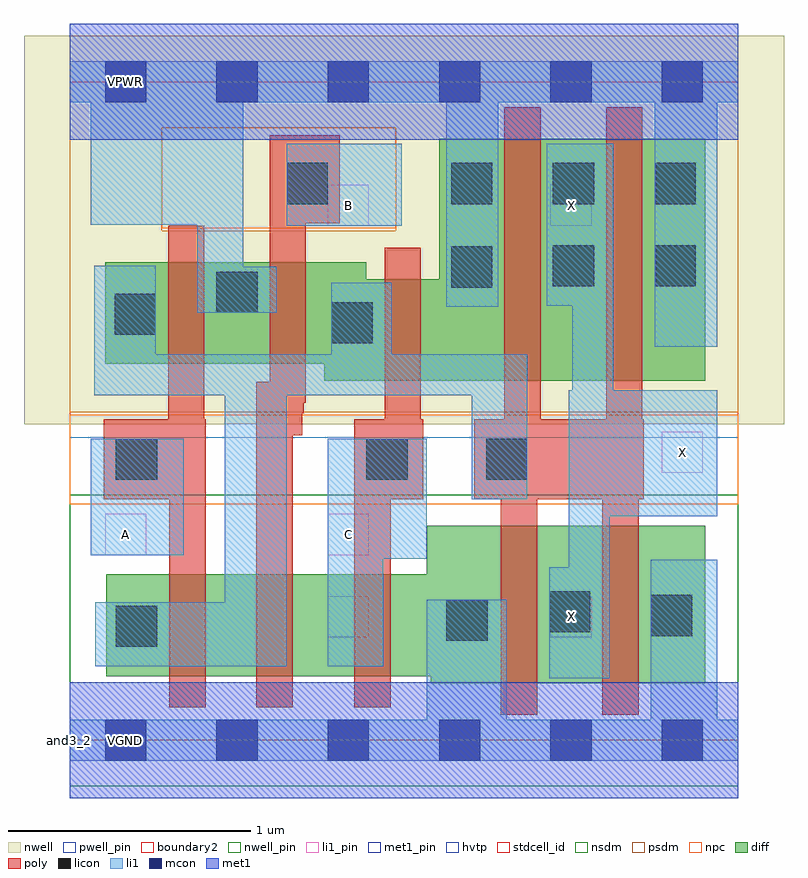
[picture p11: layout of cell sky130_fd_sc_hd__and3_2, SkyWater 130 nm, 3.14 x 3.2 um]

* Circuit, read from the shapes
.subckt sky130_fd_sc_hd__and3_2 A B C VGND VNB VPB VPWR X
XM1 n1 A n2 VNB sky130_fd_pr__nfet_01v8 w=0.42 l=0.15
XM2 n3 B n1 VNB sky130_fd_pr__nfet_01v8 w=0.42 l=0.15
XM3 VGND C n3 VNB sky130_fd_pr__nfet_01v8 w=0.42 l=0.15
XM4 X n2 VGND VNB sky130_fd_pr__nfet_01v8 w=0.65 l=0.15 m=2
XM5 VPWR A n2 VPB sky130_fd_pr__pfet_01v8_hvt w=0.42 l=0.15
XM6 n2 B VPWR VPB sky130_fd_pr__pfet_01v8_hvt w=0.42 l=0.15
XM7 VPWR C n2 VPB sky130_fd_pr__pfet_01v8_hvt w=0.42 l=0.15
XM8 X n2 VPWR VPB sky130_fd_pr__pfet_01v8_hvt w=1 l=0.15 m=2
.ends

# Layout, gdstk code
import gdstk
lib = gdstk.Library(unit=1e-6, precision=1e-09)
def R(c, l, rs):  # rectangles x0, y0, x1, y1
    for r in rs: c.add(gdstk.rectangle(r[:2], r[2:], *l))
def A(c, l, x, y, w, h, nx, ny, dx, dy):  # array of equal rectangles
    R(c, l, [(x+i*dx, y+j*dy, x+i*dx+w, y+j*dy+h) for i in range(nx) for j in range(ny)])
def P(c, l, *ps):  # polygons
    for p in ps: c.add(gdstk.Polygon(p, *l))
nwell_pin = (64, 16)
nwell = (64, 20)
diff = (65, 20)
poly = (66, 20)
licon = (66, 44)
li1_pin = (67, 16)
li1 = (67, 20)
mcon = (67, 44)
met1_pin = (68, 16)
met1 = (68, 20)
hvtp = (78, 44)
stdcell_id = (81, 4)
nsdm = (93, 44)
psdm = (94, 20)
npc = (95, 20)
pwell_pin = (122, 16)
boundary2 = (236, 0)

sky130_fd_sc_hd__and3_2 = lib.new_cell('sky130_fd_sc_hd__and3_2')
R(sky130_fd_sc_hd__and3_2, nwell_pin, [(0.145,2.635,0.315,2.805)])
R(sky130_fd_sc_hd__and3_2, nwell, [(-0.19,1.305,2.95,2.91)])
P(sky130_fd_sc_hd__and3_2, diff, [(2.625,2.485),(1.525,2.485),(1.525,1.905),(1.225,1.905),(1.225,1.975),(0.145,1.975),(0.145,1.555),(1.05,1.555),(1.05,1.485),(2.625,1.485)],
  [(2.625,0.885),(1.475,0.885),(1.475,0.685),(0.15,0.685),(0.15,0.265),(1.49,0.265),(1.49,0.235),(2.625,0.235)])
P(sky130_fd_sc_hd__and3_2, poly, [(0.56,1.325),(0.555,1.325),(0.555,2.125),(0.405,2.125),(0.405,1.325),(0.14,1.325),(0.14,0.995),(0.41,0.995),(0.41,0.135),(0.56,0.135)],
  [(1.115,2.5),(0.825,2.5),(0.825,1.48),(0.77,1.48),(0.77,0.135),(0.92,0.135),(0.92,1.26),(0.96,1.26),(0.96,1.35),(0.965,1.35),(0.965,1.395),(0.975,1.395),(0.975,2.135),(1.115,2.135)],
  [(1.46,1.325),(1.45,1.325),(1.45,2.035),(1.3,2.035),(1.3,1.325),(1.175,1.325),(1.175,0.135),(1.325,0.135),(1.325,0.995),(1.46,0.995)],
  [(2.37,1.325),(2.365,1.325),(2.365,2.615),(2.215,2.615),(2.215,1.325),(1.945,1.325),(1.945,2.615),(1.795,2.615),(1.795,1.325),(1.67,1.325),(1.67,0.995),(1.78,0.995),(1.78,0.105),(1.93,0.105),(1.93,0.995),(2.2,0.995),(2.2,0.105),(2.35,0.105),(2.35,0.995),(2.37,0.995)])
A(sky130_fd_sc_hd__and3_2, licon, 1.575, 2.215, 0.17, 0.17, 3, 1, 0.42, 0)
R(sky130_fd_sc_hd__and3_2, licon, [(0.19,0.385,0.36,0.555), (1.555,0.41,1.725,0.58), (2.4,0.43,2.57,0.6), (1.98,0.445,2.15,0.615), (0.19,1.075,0.36,1.245), (1.225,1.075,1.395,1.245), (1.72,1.075,1.89,1.245), (1.08,1.64,1.25,1.81), (0.185,1.675,0.355,1.845), (0.605,1.765,0.775,1.935), (1.575,1.87,1.745,2.04), (1.995,1.875,2.165,2.045), (2.415,1.875,2.585,2.045), (0.895,2.215,1.065,2.385)])
R(sky130_fd_sc_hd__and3_2, li1_pin, [(1.065,0.425,1.235,0.595), (1.985,0.425,2.155,0.595), (0.145,0.765,0.315,0.935), (1.065,0.765,1.235,0.935), (2.445,1.105,2.615,1.275), (1.065,2.125,1.235,2.295), (1.985,2.125,2.155,2.295)])
R(sky130_fd_sc_hd__and3_2, li1, [(0.085,0.765,0.47,1.245), (0.895,2.125,1.37,2.465)])
P(sky130_fd_sc_hd__and3_2, li1, [(1.475,1.245),(1.065,1.245),(1.065,0.305),(1.295,0.305),(1.295,0.75),(1.475,0.75)],
  [(1.89,1.595),(1.33,1.595),(1.33,1.89),(1.08,1.89),(1.08,1.595),(0.355,1.595),(0.355,1.96),(0.1,1.96),(0.1,1.425),(0.64,1.425),(0.64,0.57),(0.105,0.57),(0.105,0.305),(0.895,0.305),(0.895,1.425),(1.66,1.425),(1.66,0.995),(1.89,0.995)],
  [(2.675,1.445),(2.245,1.445),(2.245,2.465),(1.97,2.465),(1.97,1.795),(2.075,1.795),(2.075,1.445),(2.06,1.445),(2.06,0.715),(1.98,0.715),(1.98,0.255),(2.23,0.255),(2.23,0.925),(2.675,0.925)],
  [(2.76,2.805),(0,2.805),(0,2.635),(0.085,2.635),(0.085,2.13),(0.525,2.13),(0.525,1.765),(0.855,1.765),(0.855,1.955),(0.715,1.955),(0.715,2.635),(1.555,2.635),(1.555,1.79),(1.77,1.79),(1.77,2.635),(2.415,2.635),(2.415,1.625),(2.675,1.625),(2.675,2.635),(2.76,2.635)],
  [(2.76,0.085),(2.675,0.085),(2.675,0.745),(2.4,0.745),(2.4,0.085),(1.805,0.085),(1.805,0.58),(1.475,0.58),(1.475,0.085),(0,0.085),(0,-0.085),(2.76,-0.085)])
A(sky130_fd_sc_hd__and3_2, mcon, 0.145, -0.085, 0.17, 0.17, 6, 2, 0.46, 2.72)
R(sky130_fd_sc_hd__and3_2, met1_pin, [(0.145,-0.085,0.315,0.085), (0.145,-0.085,0.315,0.085), (0.145,2.635,0.315,2.805), (0.145,2.635,0.315,2.805)])
R(sky130_fd_sc_hd__and3_2, met1, [(0,-0.24,2.76,0.24), (0,2.48,2.76,2.96)])
R(sky130_fd_sc_hd__and3_2, hvtp, [(0,1.25,2.76,2.72)])
R(sky130_fd_sc_hd__and3_2, stdcell_id, [(0,0,2.76,2.72)])
R(sky130_fd_sc_hd__and3_2, nsdm, [(0,-0.19,2.76,1.015)])
P(sky130_fd_sc_hd__and3_2, psdm, [(2.76,2.91),(1.345,2.91),(1.345,2.105),(0.38,2.105),(0.38,2.53),(1.345,2.53),(1.345,2.91),(0,2.91),(0,1.355),(2.76,1.355)])
R(sky130_fd_sc_hd__and3_2, npc, [(0,0.975,2.76,1.345), (0.38,2.115,1.345,2.53)])
R(sky130_fd_sc_hd__and3_2, pwell_pin, [(0.145,-0.085,0.315,0.085)])
R(sky130_fd_sc_hd__and3_2, boundary2, [(0,0,2.76,2.72)])
sky130_fd_sc_hd__and3_2.add(gdstk.Label('B', (1.15,2.21), layer=67, texttype=5))
sky130_fd_sc_hd__and3_2.add(gdstk.Label('X', (2.07,0.51), layer=67, texttype=5))
sky130_fd_sc_hd__and3_2.add(gdstk.Label('X', (2.07,2.21), layer=67, texttype=5))
sky130_fd_sc_hd__and3_2.add(gdstk.Label('A', (0.23,0.85), layer=67, texttype=5))
sky130_fd_sc_hd__and3_2.add(gdstk.Label('C', (1.15,0.85), layer=67, texttype=5))
sky130_fd_sc_hd__and3_2.add(gdstk.Label('X', (2.53,1.19), layer=67, texttype=5))
sky130_fd_sc_hd__and3_2.add(gdstk.Label('VPWR', (0.23,2.72), layer=68, texttype=5))
sky130_fd_sc_hd__and3_2.add(gdstk.Label('VGND', (0.23,0), layer=68, texttype=5))
sky130_fd_sc_hd__and3_2.add(gdstk.Label('VPWR', (0.23,2.72), layer=68, texttype=5))
sky130_fd_sc_hd__and3_2.add(gdstk.Label('VGND', (0.23,0), layer=68, texttype=5))
sky130_fd_sc_hd__and3_2.add(gdstk.Label('VPB', (0.23,2.72), layer=64, texttype=5))
sky130_fd_sc_hd__and3_2.add(gdstk.Label('VNB', (0.23,0), layer=64, texttype=59))
sky130_fd_sc_hd__and3_2.add(gdstk.Label('and3_2', (0,0), layer=83, texttype=44))

lib.write_gds('sky130_fd_sc_hd__and3_2.gds')
